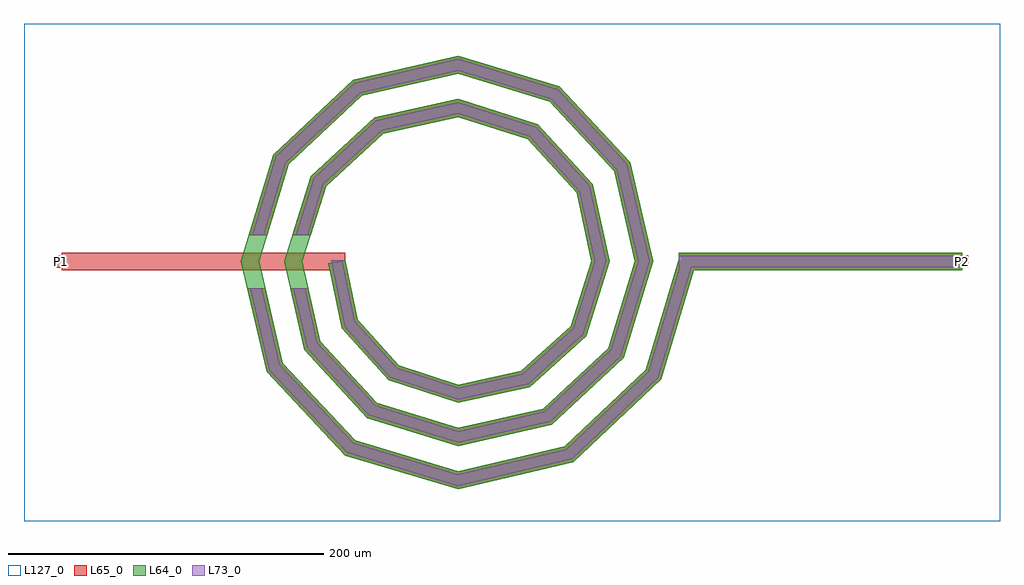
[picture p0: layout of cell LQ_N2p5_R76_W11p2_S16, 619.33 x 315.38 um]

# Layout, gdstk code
import gdstk
lib = gdstk.Library(unit=1e-6, precision=1e-09)
def R(c, l, rs):  # rectangles x0, y0, x1, y1
    for r in rs: c.add(gdstk.rectangle(r[:2], r[2:], *l))
def P(c, l, *ps):  # polygons
    for p in ps: c.add(gdstk.Polygon(p, *l))
L64_0 = (64, 0)
L65_0 = (65, 0)
L73_0 = (73, 0)
L127_0 = (127, 0)

lq_n2p5_r76_w11p2_s16 = lib.new_cell('LQ_N2p5_R76_W11p2_S16')
R(lq_n2p5_r76_w11p2_s16, L64_0, [(140.054,-5.6,320.054,5.6)])
P(lq_n2p5_r76_w11p2_s16, L64_0, [(-63.388,-36.959),(-37.57,-65.682),(0.296,-77.96),(40.376,-69.357),(71.626,-41.029),(84.837,0.273),(75.323,43.796),(44.486,77.572),(0.254,91.715),(-47.219,81.288),(-83.519,47.939),(-98.592,0.237),(-87.252,-50.643),(-51.392,-89.468),(0.223,-105.47),(54.07,-93.216),(95.417,-54.842),(112.347,0.21),(99.178,57.498),(58.291,101.367),(0.198,119.225),(-60.927,105.14),(-107.318,61.74),(-126.103,0.188),(-111.101,-64.358),(-65.187,-113.27),(0.179,-132.981),(67.789,-117.062),(119.222,-68.633),(140.29,1.609),(151.018,-1.609),(129.087,-74.728),(73.28,-127.276),(0.179,-144.571),(-71.296,-123.126),(-121.323,-69.833),(-137.693,0.188),(-117.164,67.866),(-66.385,115.372),(0.198,130.814),(64.436,111.202),(109.42,62.936),(123.936,0.21),(105.239,-61.007),(59.486,-103.47),(0.223,-117.057),(-57.579,-99.275),(-97.519,-56.035),(-110.179,0.237),(-93.311,54.153),(-52.581,91.57),(0.254,103.3),(50.729,87.345),(85.622,49.126),(96.421,0.273),(81.377,-47.307),(45.668,-79.676),(0.296,-89.542),(-43.888,-75.408),(-73.731,-42.207),(-82.353,-1.151),(-71.393,1.151)])
R(lq_n2p5_r76_w11p2_s16, L65_0, [(-251.273,-5.6,-71.273,5.6), (140.054,-5.6,320.054,5.6), (-255.273,-4,-247.273,4), (316.054,-4,324.054,4)])
P(lq_n2p5_r76_w11p2_s16, L65_0, [(-111.101,-64.358),(-65.187,-113.27),(0.179,-132.981),(67.789,-117.062),(119.222,-68.633),(140.29,1.609),(151.018,-1.609),(129.087,-74.728),(73.28,-127.276),(0.179,-144.571),(-71.297,-123.126),(-121.323,-69.833),(-133.721,-16.8),(-122.219,-16.8)],
  [(-87.252,-50.644),(-51.392,-89.468),(0.223,-105.47),(54.07,-93.216),(95.417,-54.842),(112.347,0.21),(99.178,57.498),(58.291,101.368),(0.198,119.225),(-60.928,105.14),(-107.319,61.74),(-120.95,16.8),(-132.654,16.8),(-117.164,67.866),(-66.385,115.372),(0.198,130.814),(64.436,111.202),(109.42,62.936),(123.936,0.21),(105.239,-61.007),(59.486,-103.47),(0.223,-117.057),(-57.579,-99.275),(-97.52,-56.035),(-106.346,-16.8),(-94.866,-16.8)],
  [(-37.57,-65.682),(0.296,-77.96),(40.376,-69.357),(71.626,-41.029),(84.837,0.274),(75.323,43.796),(44.486,77.572),(0.254,91.715),(-47.219,81.288),(-83.519,47.94),(-93.262,16.8),(-104.997,16.8),(-93.311,54.153),(-52.581,91.57),(0.254,103.3),(50.729,87.345),(85.622,49.126),(96.421,0.274),(81.377,-47.307),(45.668,-79.676),(0.296,-89.542),(-43.888,-75.408),(-73.731,-42.207),(-82.353,-1.151),(-71.393,1.151),(-63.388,-36.959)])
R(lq_n2p5_r76_w11p2_s16, L73_0, [(140.054,-3.6,320.054,3.6)])
P(lq_n2p5_r76_w11p2_s16, L73_0, [(-112.927,-65.335),(-66.278,-115.03),(0.115,-135.05),(68.769,-118.886),(120.984,-69.722),(142.206,1.034),(149.102,-1.034),(127.325,-73.64),(72.299,-125.452),(0.115,-142.501),(-70.206,-121.366),(-119.498,-68.855),(-131.667,-16.8),(-124.273,-16.8)],
  [(-89.086,-51.606),(-52.497,-91.219),(0.143,-107.539),(55.037,-95.047),(97.171,-55.943),(114.417,0.135),(101.007,58.469),(59.389,103.124),(0.128,121.295),(-61.902,106.967),(-109.077,62.833),(-123.04,16.8),(-130.564,16.8),(-115.406,66.772),(-65.41,113.545),(0.128,128.745),(63.339,109.446),(107.591,61.965),(121.867,0.135),(103.485,-59.906),(58.519,-101.638),(0.143,-114.988),(-56.474,-97.524),(-95.686,-55.072),(-104.296,-16.8),(-96.916,-16.8)],
  [(-38.699,-67.419),(0.19,-80.028),(41.321,-71.199),(73.367,-42.15),(86.906,0.176),(77.162,44.748),(45.601,79.317),(0.163,93.783),(-48.176,83.124),(-85.268,49.049),(-95.357,16.8),(-102.901,16.8),(-91.562,53.044),(-51.624,89.734),(0.163,101.231),(49.614,85.6),(83.783,48.174),(94.353,0.176),(79.636,-46.186),(44.723,-77.833),(0.19,-87.474),(-42.76,-73.671),(-71.884,-41.27),(-80.396,0.74),(-73.35,0.74),(-65.235,-37.896)])
R(lq_n2p5_r76_w11p2_s16, L127_0, [(-275.273,-164.571,344.054,150.814)])
lq_n2p5_r76_w11p2_s16.add(gdstk.Label('P2', (320.054,0), layer=65, texttype=0))
lq_n2p5_r76_w11p2_s16.add(gdstk.Label('P1', (-251.273,0), layer=65, texttype=0))
lq_n2p5_r76_w11p2_s16.add(gdstk.Label('P2', (324.054,0), layer=145, texttype=0))
lq_n2p5_r76_w11p2_s16.add(gdstk.Label('P1', (-255.273,0), layer=145, texttype=0))

lib.write_gds('LQ_N2p5_R76_W11p2_S16.gds')
